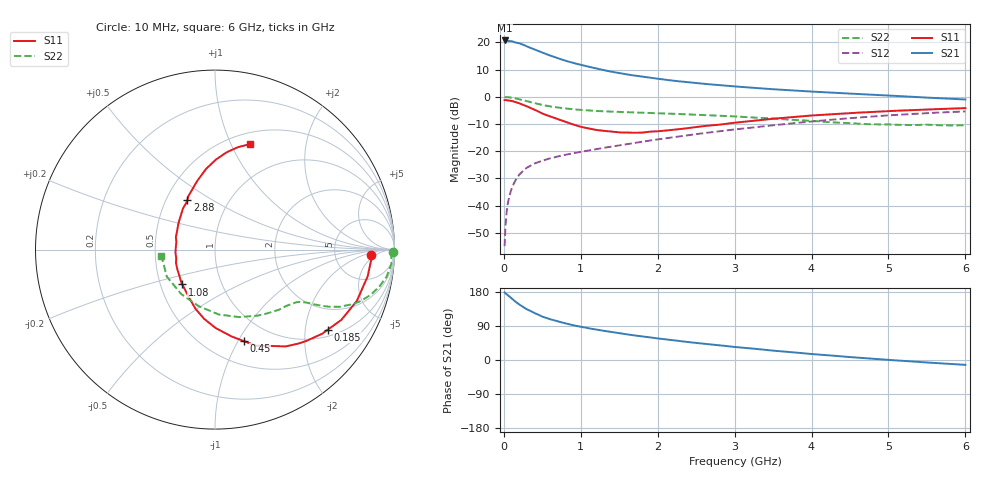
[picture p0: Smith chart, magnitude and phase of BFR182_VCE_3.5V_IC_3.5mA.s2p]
! Infineon Technologies  Discrete & RF Semiconductors
! BFR182
! VCE =  3.5 V,  IC =  3.5 mA
! Common Emitter S-Parameters:  Nov 2015
# GHz  S  MA  R  50
!  f  S11  S21  S12  S22
! GHz  MAG  ANG  MAG  ANG  MAG  ANG  MAG  ANG
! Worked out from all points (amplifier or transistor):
!   210 points, 10 MHz to 6 GHz, reference 50 ohm
!   highest |S21| = 20.7 dB at 10 MHz (marker M1)
!   |S21| within 3 dB of that: start of sweep to 371.8 MHz
!   unconditionally stable (mu >= 1): 1.231 GHz to 2.936 GHz
!   at 185 MHz: K = 0.26, MSG = 24.5 dB, |S12| = -29.2 dB
!   at 1.52 GHz: K = 1.06, MAG = 11.8 dB, |S12| = -17.8 dB
!   at 6 GHz: K = 0.88, MSG = 2.2 dB, |S12| = -5.4 dB
!   S11 on the Smith chart (normalised r, x): 10 MHz: 13, -3; 185 MHz: 1.21, -2.65; 450 MHz: 0.74, -1.05; 1.08 GHz: 0.65, -0.27; 2.88 GHz: 0.64, +0.39; 6 GHz: 0.62, +1.18
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0.01  0.8693 -2.0  10.85 178.3  0.0018 93.0  0.9936 -0.9
0.02  0.8718 -3.9  10.63 176.3  0.0039 87.6  0.9831 -1.9
0.04  0.8653 -7.9  10.65 173.0  0.0084 84.1  0.9849 -3.7
0.1  0.8403 -19.9  10.55 162.8  0.0203 79.3  0.9678 -9.0
0.185  0.7711 -35.3  9.712 148.9  0.0345 71.3  0.9119 -15.3
0.24  0.7197 -45.0  9.179 141.0  0.0423 67.0  0.8716 -18.6
0.28  0.6839 -51.0  8.676 136.1  0.0474 64.9  0.8434 -20.5
0.4  0.5802 -67.1  7.419 123.8  0.0596 60.0  0.7653 -24.6
0.45  0.5337 -72.6  6.925 119.5  0.0632 58.7  0.7366 -25.6
0.5  0.4931 -79.1  6.476 114.6  0.0668 57.6  0.7081 -26.7
0.6  0.4376 -89.4  5.743 107.7  0.0739 56.6  0.665 -27.9
0.7  0.3901 -99.0  5.124 102.0  0.0801 55.6  0.6356 -28.8
0.9  0.3107 -116.5  4.194 91.7  0.0916 55.7  0.5912 -30.0
1.02  0.2772 -127.6  3.806 86.9  0.0984 56.4  0.5712 -30.8
1.08  0.2666 -133.2  3.634 84.6  0.1019 56.8  0.5633 -31.2
1.4  0.2302 -160.8  2.885 73.9  0.1213 58.2  0.534 -33.8
2.02  0.2337 155.1  2.129 56.4  0.1662 59.1  0.4971 -40.7
2.88  0.3177 119.0  1.607 37.1  0.2402 56.2  0.4438 -55.1
3.1  0.3449 113.6  1.514 32.6  0.2606 54.6  0.4275 -59.9
4.1  0.4624 94.7  1.226 14.3  0.3621 45.7  0.3526 -90.0
5.1  0.5538 81.9  1.039 -1.1  0.4648 33.5  0.3062 -132.0
6  0.6196 71.6  0.893 -12.8  0.5389 20.1  0.3004 -173.2
